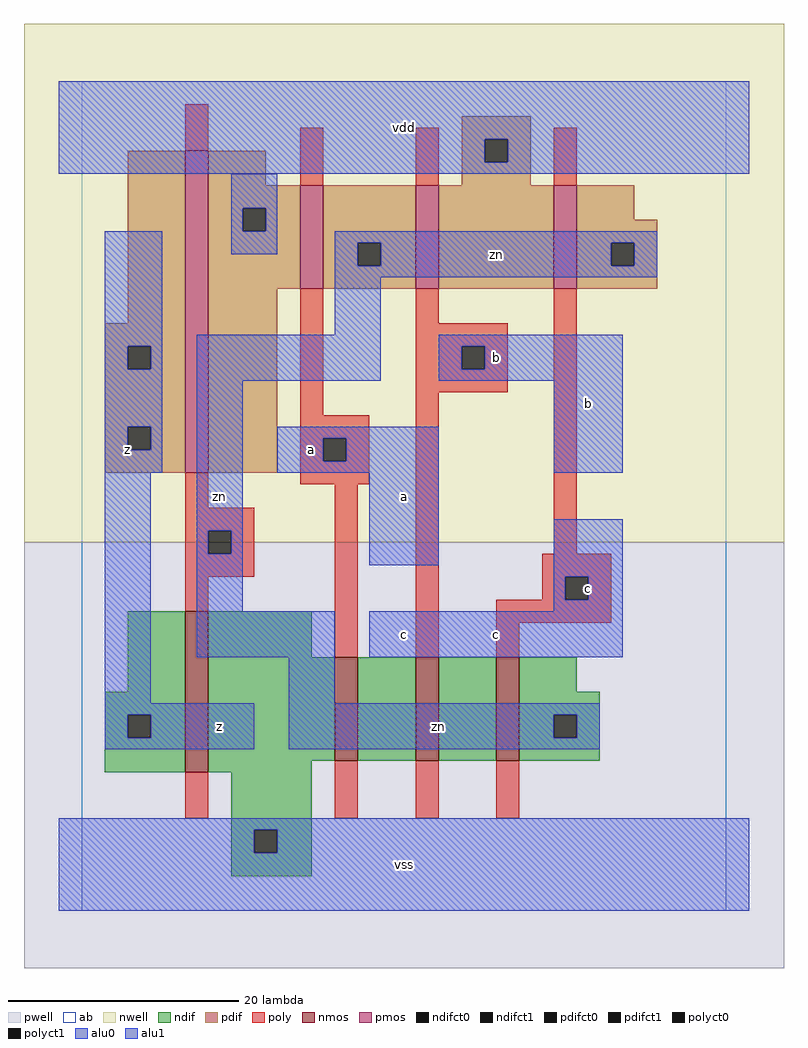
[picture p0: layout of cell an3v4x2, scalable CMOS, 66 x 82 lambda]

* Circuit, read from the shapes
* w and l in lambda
.subckt an3v4x2 a b c vdd vss z zn
M1 vss zn z VSUBS nfet w=14 l=2
M2 n1 a vss VSUBS nfet w=9 l=2
M3 n2 b n1 VSUBS nfet w=9 l=2
M4 zn c n2 VSUBS nfet w=9 l=2
M5 vdd zn z n3 pfet w=28 l=2
M6 zn a vdd n3 pfet w=9 l=2
M7 vdd b zn n3 pfet w=9 l=2
M8 zn c vdd n3 pfet w=9 l=2
.ends

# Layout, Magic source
magic
tech scmos
<< ab >>
rect 0 0 56 72
<< nwell >>
rect -5 32 61 77
<< pwell >>
rect -5 -5 61 32
<< poly >>
rect 9 66 11 70
rect 19 63 21 68
rect 29 63 31 68
rect 41 63 43 68
rect 19 43 21 54
rect 29 51 31 54
rect 29 49 37 51
rect 29 47 33 49
rect 35 47 37 49
rect 29 45 37 47
rect 19 41 25 43
rect 19 39 21 41
rect 23 39 25 41
rect 9 35 11 38
rect 19 37 25 39
rect 9 33 15 35
rect 9 31 11 33
rect 13 31 15 33
rect 9 29 15 31
rect 9 26 11 29
rect 22 22 24 37
rect 29 22 31 45
rect 41 31 43 54
rect 40 29 46 31
rect 40 27 42 29
rect 44 27 46 29
rect 36 25 46 27
rect 36 22 38 25
rect 9 8 11 12
rect 22 8 24 13
rect 29 8 31 13
rect 36 8 38 13
<< ndif >>
rect 4 19 9 26
rect 2 17 9 19
rect 2 15 4 17
rect 6 15 9 17
rect 2 12 9 15
rect 11 22 20 26
rect 11 13 22 22
rect 24 13 29 22
rect 31 13 36 22
rect 38 19 43 22
rect 38 17 45 19
rect 38 15 41 17
rect 43 15 45 17
rect 38 13 45 15
rect 11 12 20 13
rect 13 7 20 12
rect 13 5 15 7
rect 17 5 20 7
rect 13 3 20 5
<< pdif >>
rect 4 51 9 66
rect 2 49 9 51
rect 2 47 4 49
rect 6 47 9 49
rect 2 42 9 47
rect 2 40 4 42
rect 6 40 9 42
rect 2 38 9 40
rect 11 63 16 66
rect 33 67 39 69
rect 33 65 35 67
rect 37 65 39 67
rect 33 63 39 65
rect 11 61 19 63
rect 11 59 14 61
rect 16 59 19 61
rect 11 54 19 59
rect 21 58 29 63
rect 21 56 24 58
rect 26 56 29 58
rect 21 54 29 56
rect 31 54 41 63
rect 43 60 48 63
rect 43 58 50 60
rect 43 56 46 58
rect 48 56 50 58
rect 43 54 50 56
rect 11 38 17 54
<< alu1 >>
rect -2 67 58 72
rect -2 65 35 67
rect 37 65 58 67
rect -2 64 58 65
rect 2 49 7 59
rect 2 47 4 49
rect 6 47 7 49
rect 2 42 7 47
rect 2 40 4 42
rect 6 40 7 42
rect 2 38 7 40
rect 31 49 47 50
rect 31 47 33 49
rect 35 47 47 49
rect 31 46 47 47
rect 2 18 6 38
rect 17 41 31 42
rect 17 39 21 41
rect 23 39 31 41
rect 17 38 31 39
rect 41 38 47 46
rect 25 30 31 38
rect 41 29 47 34
rect 41 27 42 29
rect 44 27 47 29
rect 41 26 47 27
rect 25 22 47 26
rect 2 17 15 18
rect 2 15 4 17
rect 6 15 15 17
rect 2 14 15 15
rect -2 7 58 8
rect -2 5 15 7
rect 17 5 58 7
rect -2 0 58 5
<< nmos >>
rect 9 12 11 26
rect 22 13 24 22
rect 29 13 31 22
rect 36 13 38 22
<< pmos >>
rect 9 38 11 66
rect 19 54 21 63
rect 29 54 31 63
rect 41 54 43 63
<< polyct0 >>
rect 11 31 13 33
<< polyct1 >>
rect 33 47 35 49
rect 21 39 23 41
rect 42 27 44 29
<< ndifct0 >>
rect 41 15 43 17
<< ndifct1 >>
rect 4 15 6 17
rect 15 5 17 7
<< pdifct0 >>
rect 14 59 16 61
rect 24 56 26 58
rect 46 56 48 58
<< pdifct1 >>
rect 4 47 6 49
rect 4 40 6 42
rect 35 65 37 67
<< alu0 >>
rect 13 61 17 64
rect 13 59 14 61
rect 16 59 17 61
rect 13 57 17 59
rect 22 58 50 59
rect 22 56 24 58
rect 26 56 46 58
rect 48 56 50 58
rect 22 55 50 56
rect 22 50 26 55
rect 10 46 26 50
rect 10 33 14 46
rect 10 31 11 33
rect 13 31 14 33
rect 10 26 14 31
rect 10 22 22 26
rect 18 18 22 22
rect 18 17 45 18
rect 18 15 41 17
rect 43 15 45 17
rect 18 14 45 15
<< labels >>
rlabel alu0 12 36 12 36 6 zn
rlabel alu0 31 16 31 16 6 zn
rlabel alu0 36 57 36 57 6 zn
rlabel alu1 4 40 4 40 6 z
rlabel alu1 12 16 12 16 6 z
rlabel alu1 20 40 20 40 6 a
rlabel alu1 28 4 28 4 6 vss
rlabel alu1 28 24 28 24 6 c
rlabel alu1 36 24 36 24 6 c
rlabel alu1 28 36 28 36 6 a
rlabel alu1 36 48 36 48 6 b
rlabel alu1 28 68 28 68 6 vdd
rlabel alu1 44 28 44 28 6 c
rlabel alu1 44 44 44 44 6 b
<< end >>
